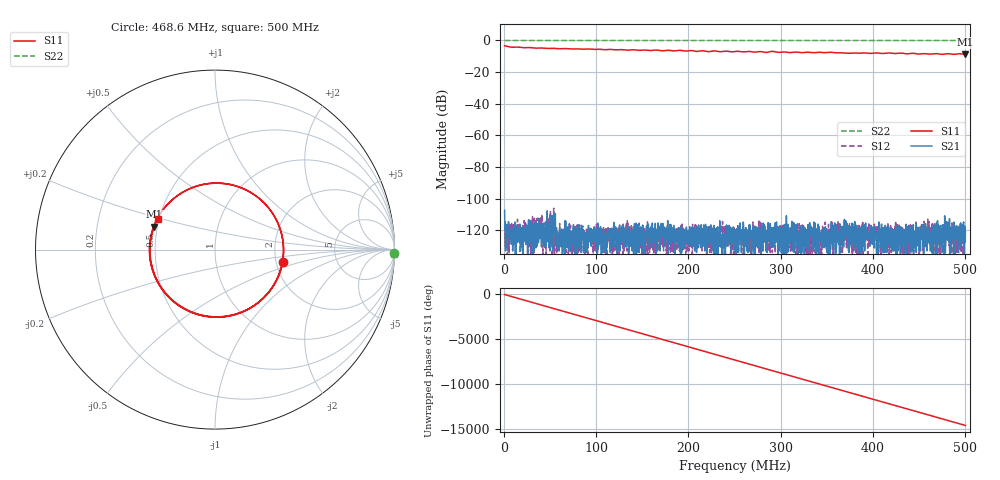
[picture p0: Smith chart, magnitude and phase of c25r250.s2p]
! MS46122B
! 1746301/73750021
! 11/3/2023 2:31:58 PM
! C:\USERS\SPEGWAL\DOWNLOADS\SAURABH\REACH\NODES\FRONT END\MEASUREMENTS\MEASURED S-PARAMETERS_03-11-2023\MS3-MS4_MS1_CABLE\250OHMS_SOURCE_S11.S2P
! CHANNEL.1
! TR.MEASUREMENT
! CORRECTED.DATA
# GHZ S RI R 50.0
! FREQ.GHZ  S11RE  S11IM  S21RE  S21IM  S12RE  S12IM  S22RE  S22IM
!; PortSelection: Port_12
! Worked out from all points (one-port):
!   2001 points, 1 MHz to 500 MHz, reference 50 ohm
!   lowest |S11| = -8.8 dB at 499.8 MHz (marker M1), VSWR 2.13, Z = 24 + j7.04 ohm
!   |S11| at or under -10 dB: nowhere
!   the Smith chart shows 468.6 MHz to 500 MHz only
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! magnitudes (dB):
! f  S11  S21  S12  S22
! 1 MHz  -3.3  -107.3  -118.4  0.0
! 9.483 MHz  -4.3  -121.9  -117.9  0.0
! 84.33 MHz  -5.5  -116.8  -124.4  0.0
! 167.4 MHz  -6.1  -119.0  -121.9  0.0
! 202.8 MHz  -6.4  -119.7  -128.0  0.0
! 209.1 MHz  -6.9  -118.0  -118.2  0.0
! 215.6 MHz  -6.5  -130.0  -122.8  0.0
! 221.8 MHz  -7.0  -119.7  -130.5  0.0
! 228 MHz  -6.6  -118.3  -130.0  0.0
! 250.5 MHz  -6.9  -119.6  -128.9  0.0
! 277.9 MHz  -7.0  -133.0  -133.0  0.0
! 283.9 MHz  -7.5  -133.0  -123.9  0.0
! 291.2 MHz  -6.9  -123.5  -124.3  0.0
! 297.9 MHz  -7.5  -120.7  -131.0  0.0
! 333.8 MHz  -7.7  -122.8  -119.8  0.0
! 353.8 MHz  -7.5  -127.0  -120.5  0.0
! 410.2 MHz  -8.2  -118.3  -126.0  0.0
! 416.9 MHz  -7.8  -127.0  -120.5  0.0
! 474.6 MHz  -8.8  -123.0  -122.8  0.0
! 493.8 MHz  -8.4  -127.7  -122.1  0.0
! 499.8 MHz  -8.8  -127.7  -120.5  0.0
! 500 MHz  -8.8  -120.7  -120.7  0.0
